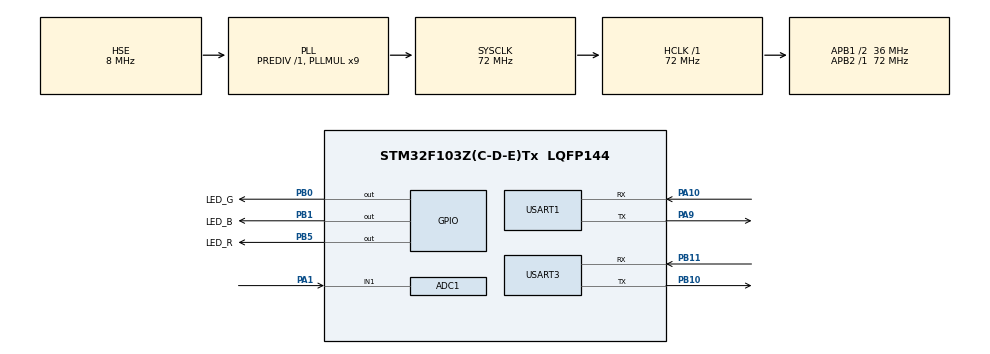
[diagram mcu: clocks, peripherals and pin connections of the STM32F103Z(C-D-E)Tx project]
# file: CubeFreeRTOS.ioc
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ADC1.Channel-1\#ChannelRegularConversion=ADC_CHANNEL_1
ADC1.ContinuousConvMode=ENABLE
ADC1.NbrOfConversionFlag=1
ADC1.Rank-1\#ChannelRegularConversion=1
ADC1.SamplingTime-1\#ChannelRegularConversion=ADC_SAMPLETIME_55CYCLES_5
ADC1.master=1
FREERTOS.Queues01=myQueue01,16,LCD_Data_t,0,Dynamic,NULL,NULL
FREERTOS.Tasks01=Task,0,128,StartTask,Default,NULL,Dynamic,NULL,NULL;LCD,-2,256,LCDTask,Default,NULL,Dynamic,NULL,NULL;AdcTask,-2,128,StartAdc03,Default,NULL,Dynamic,NULL,NULL
Mcu.Family=STM32F1
Mcu.Name=STM32F103Z(C-D-E)Tx
Mcu.Package=LQFP144
NVIC.PriorityGroup=NVIC_PRIORITYGROUP_4
NVIC.TIM1_UP_IRQn=true\:15\:0\:false\:false\:true\:false\:false\:true\:true
NVIC.TimeBase=TIM1_UP_IRQn
NVIC.TimeBaseIP=TIM1
NVIC.USART1_IRQn=true\:5\:0\:false\:false\:true\:true\:true\:true\:true
NVIC.USART3_IRQn=true\:5\:0\:false\:false\:true\:true\:true\:true\:true
OSC_IN.Mode=HSE-External-Oscillator
OSC_IN.Signal=RCC_OSC_IN
OSC_OUT.Mode=HSE-External-Oscillator
OSC_OUT.Signal=RCC_OSC_OUT
PA1.Signal=ADCx_IN1
PA10.Mode=Asynchronous
PA10.Signal=USART1_RX
PA13.Mode=Serial_Wire
PA13.Signal=SYS_JTMS-SWDIO
PA14.Mode=Serial_Wire
PA14.Signal=SYS_JTCK-SWCLK
PA9.Mode=Asynchronous
PA9.Signal=USART1_TX
PB0.GPIO_Label=LED_G
PB0.PinState=GPIO_PIN_SET
PB0.Signal=GPIO_Output
PB1.GPIO_Label=LED_B
PB1.PinState=GPIO_PIN_SET
PB1.Signal=GPIO_Output
PB10.Mode=Asynchronous
PB10.Signal=USART3_TX
PB11.Mode=Asynchronous
PB11.Signal=USART3_RX
PB5.GPIO_Label=LED_R
PB5.PinState=GPIO_PIN_SET
PB5.Signal=GPIO_Output
PC14-OSC32_IN.Mode=LSE-External-Oscillator
PC14-OSC32_IN.Signal=RCC_OSC32_IN
PC15-OSC32_OUT.Mode=LSE-External-Oscillator
PC15-OSC32_OUT.Signal=RCC_OSC32_OUT
ProjectManager.HeapSize=0x200
ProjectManager.StackSize=0x400
ProjectManager.TargetToolchain=Makefile
RCC.ADCPresc=RCC_ADCPCLK2_DIV6
RCC.AHBFreq_Value=72000000
RCC.APB1CLKDivider=RCC_HCLK_DIV2
RCC.APB1Freq_Value=36000000
RCC.APB1TimFreq_Value=72000000
RCC.APB2Freq_Value=72000000
RCC.APB2TimFreq_Value=72000000
RCC.HCLKFreq_Value=72000000
RCC.PLLMUL=RCC_PLL_MUL9
RCC.PLLSourceVirtual=RCC_PLLSOURCE_HSE
RCC.SYSCLKFreq_VALUE=72000000
RCC.SYSCLKSource=RCC_SYSCLKSOURCE_PLLCLK
RCC.USBFreq_Value=72000000
SH.ADCx_IN1.0=ADC1_IN1,IN1
USART1.VirtualMode=VM_ASYNC
USART3.VirtualMode=VM_ASYNC
VP_FREERTOS_VS_CMSIS_V1.Mode=CMSIS_V1
VP_SYS_VS_tim1.Mode=TIM1
board=custom

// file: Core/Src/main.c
/* USER CODE BEGIN Header */
/**
  ******************************************************************************
  * @file           : main.c
  * @brief          : Main program body
  ******************************************************************************
  * @attention
  *
  * Copyright (c) 2024 STMicroelectronics.
  * All rights reserved.
  *
  * This software is licensed under terms that can be found in the LICENSE file
  * in the root directory of this software component.
  * If no LICENSE file comes with this software, it is provided AS-IS.
  *
  ******************************************************************************
  */
/* USER CODE END Header */
#include "main.h"
#include "cmsis_os.h"
#include "adc.h"
#include "usart.h"
#include "gpio.h"

/* USER CODE BEGIN Includes */
#include "stdio.h"

/* USER CODE END Includes */

void SystemClock_Config(void);
void MX_FREERTOS_Init(void);

int main(void)
{

  /* MCU Configuration--------------------------------------------------------*/

  /* Reset of all peripherals, Initializes the Flash interface and the Systick. */
  HAL_Init();

  /* Configure the system clock */
  SystemClock_Config();

  /* Initialize all configured peripherals */
  MX_GPIO_Init();
  MX_USART1_UART_Init();
  MX_USART3_UART_Init();
  MX_ADC1_Init();

  /* Init scheduler */
  osKernelInitialize();

  /* Call init function for freertos objects (in cmsis_os2.c) */
  MX_FREERTOS_Init();

  /* Start scheduler */
  osKernelStart();

  /* We should never get here as control is now taken by the scheduler */

  /* Infinite loop */
  while (1)
  {

  }
}

void SystemClock_Config(void)
{
  RCC_OscInitTypeDef RCC_OscInitStruct = {0};
  RCC_ClkInitTypeDef RCC_ClkInitStruct = {0};
  RCC_PeriphCLKInitTypeDef PeriphClkInit = {0};

  /** Initializes the RCC Oscillators according to the specified parameters
  * in the RCC_OscInitTypeDef structure.
  */
  RCC_OscInitStruct.OscillatorType = RCC_OSCILLATORTYPE_HSE;
  RCC_OscInitStruct.HSEState = RCC_HSE_ON;
  RCC_OscInitStruct.HSEPredivValue = RCC_HSE_PREDIV_DIV1;
  RCC_OscInitStruct.HSIState = RCC_HSI_ON;
  RCC_OscInitStruct.PLL.PLLState = RCC_PLL_ON;
  RCC_OscInitStruct.PLL.PLLSource = RCC_PLLSOURCE_HSE;
  RCC_OscInitStruct.PLL.PLLMUL = RCC_PLL_MUL9;
  if (HAL_RCC_OscConfig(&RCC_OscInitStruct) != HAL_OK)
  {
    Error_Handler();
  }

  /** Initializes the CPU, AHB and APB buses clocks
  */
  RCC_ClkInitStruct.ClockType = RCC_CLOCKTYPE_HCLK|RCC_CLOCKTYPE_SYSCLK
                              |RCC_CLOCKTYPE_PCLK1|RCC_CLOCKTYPE_PCLK2;
  RCC_ClkInitStruct.SYSCLKSource = RCC_SYSCLKSOURCE_PLLCLK;
  RCC_ClkInitStruct.AHBCLKDivider = RCC_SYSCLK_DIV1;
  RCC_ClkInitStruct.APB1CLKDivider = RCC_HCLK_DIV2;
  RCC_ClkInitStruct.APB2CLKDivider = RCC_HCLK_DIV1;

  if (HAL_RCC_ClockConfig(&RCC_ClkInitStruct, FLASH_LATENCY_2) != HAL_OK)
  {
    Error_Handler();
  }
  PeriphClkInit.PeriphClockSelection = RCC_PERIPHCLK_ADC;
  PeriphClkInit.AdcClockSelection = RCC_ADCPCLK2_DIV6;
  if (HAL_RCCEx_PeriphCLKConfig(&PeriphClkInit) != HAL_OK)
  {
    Error_Handler();
  }
}

void HAL_TIM_PeriodElapsedCallback(TIM_HandleTypeDef *htim)
{
  if (htim->Instance == TIM1) {
    HAL_IncTick();
  }
}

void Error_Handler(void)
{
  __disable_irq();
  while (1)
  {
  }
}

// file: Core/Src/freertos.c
/* USER CODE BEGIN Header */
/**
  ******************************************************************************
  * File Name          : freertos.c
  * Description        : Code for freertos applications
  ******************************************************************************
  * @attention
  *
  * Copyright (c) 2024 STMicroelectronics.
  * All rights reserved.
  *
  * This software is licensed under terms that can be found in the LICENSE file
  * in the root directory of this software component.
  * If no LICENSE file comes with this software, it is provided AS-IS.
  *
  ******************************************************************************
  */
/* USER CODE END Header */

#include "FreeRTOS.h"
#include "task.h"
#include "main.h"
#include "cmsis_os.h"

/* USER CODE BEGIN Includes */
#include <stdio.h>
#include "adc.h"
#include "T5UIC1.h"
/* USER CODE END Includes */

/* USER CODE BEGIN PTD */
#include "global.h"
/* USER CODE END PTD */

osThreadId TaskHandle;
osThreadId LCDHandle;
osThreadId AdcTaskHandle;
osMessageQId myQueue01Handle;

void StartTask(void const * argument);
void LCDTask(void const * argument);
void StartAdc03(void const * argument);

void MX_FREERTOS_Init(void); /* (MISRA C 2004 rule 8.1) */

/* GetIdleTaskMemory prototype (linked to static allocation support) */
void vApplicationGetIdleTaskMemory( StaticTask_t **ppxIdleTaskTCBBuffer, StackType_t **ppxIdleTaskStackBuffer, uint32_t *pulIdleTaskStackSize );

/* USER CODE BEGIN GET_IDLE_TASK_MEMORY */
static StaticTask_t xIdleTaskTCBBuffer;
static StackType_t xIdleStack[configMINIMAL_STACK_SIZE];

void vApplicationGetIdleTaskMemory( StaticTask_t **ppxIdleTaskTCBBuffer, StackType_t **ppxIdleTaskStackBuffer, uint32_t *pulIdleTaskStackSize )
{
  *ppxIdleTaskTCBBuffer = &xIdleTaskTCBBuffer;
  *ppxIdleTaskStackBuffer = &xIdleStack[0];
  *pulIdleTaskStackSize = configMINIMAL_STACK_SIZE;
  /* place for user code */
}
/* USER CODE END GET_IDLE_TASK_MEMORY */

void MX_FREERTOS_Init(void) {

  /* Create the queue(s) */
  /* definition and creation of myQueue01 */
  osMessageQDef(myQueue01, 16, LCD_Data_t);
  myQueue01Handle = osMessageCreate(osMessageQ(myQueue01), NULL);

  /* Create the thread(s) */
  /* definition and creation of Task */
  osThreadDef(Task, StartTask, osPriorityNormal, 0, 128);
  TaskHandle = osThreadCreate(osThread(Task), NULL);

  /* definition and creation of LCD */
  osThreadDef(LCD, LCDTask, osPriorityLow, 0, 256);
  LCDHandle = osThreadCreate(osThread(LCD), NULL);

  /* definition and creation of AdcTask */
  osThreadDef(AdcTask, StartAdc03, osPriorityLow, 0, 128);
  AdcTaskHandle = osThreadCreate(osThread(AdcTask), NULL);

}

void StartTask(void const * argument)
{
  /* USER CODE BEGIN StartTask */

  /* Infinite loop */
  for(;;)
  {
    HAL_GPIO_TogglePin(LED_B_GPIO_Port,LED_B_Pin);
    osDelay(1000);
  }
  /* USER CODE END StartTask */
}

void LCDTask(void const * argument)
{
  /* USER CODE BEGIN LCDTask */
  DWINLCD_Init(USART3);
  DWINLCD_Clear(White);
	DWINLCD_ShowXChar(1, 1, A64, Black, White, 30, 50, "Vol:");

  /* Infinite loop */
  for(;;)
  {
  // DWINLCD_ShowXChar(1, 1, 0x05, Black, White, 30, 210, "hello");
  BaseType_t ret;
  LCD_Data_t data;
  ret=xQueueReceive(myQueue01Handle,&data,portMAX_DELAY);
  if(ret=pdTRUE){
    printf("sta:%d\r\n",data.stpe);
    printf("%d\r\n",data.disp_vol);
    DWINLCD_ShowXNum(1, 1, 1, 0, A64, Black, White, 1, 3, 125,50,data.disp_vol);
  }
  osDelay(1);
  }
  /* USER CODE END LCDTask */
}

void StartAdc03(void const * argument)
{
  /* USER CODE BEGIN StartAdc03 */

  HAL_ADCEx_Calibration_Start(&hadc1);    //ADC内部校准
  HAL_ADC_Start(&hadc1);                  //ADC开启转换

  uint16_t ADC_V =0;

  /* Infinite loop */
  for(;;)
  {
    LCD_Data_t data;
    uint16_t ADC_num = HAL_ADC_GetValue(&hadc1);    //获取ADC端口数据
    ADC_V = 3300*ADC_num/4096;
   data.disp_vol=ADC_V;
   data.stpe = Sta2;
    xQueueSend(myQueue01Handle,&data,0);

    // adc_st.cp_vol=ADC_V;
    // adc_st.cp_sta=Sta3;

		// if(osOK!=xReturn.status)
		// {
		// 	printf("adc send fail\n");
		// }
   osDelay(1);
  }
  /* USER CODE END StartAdc03 */
}
